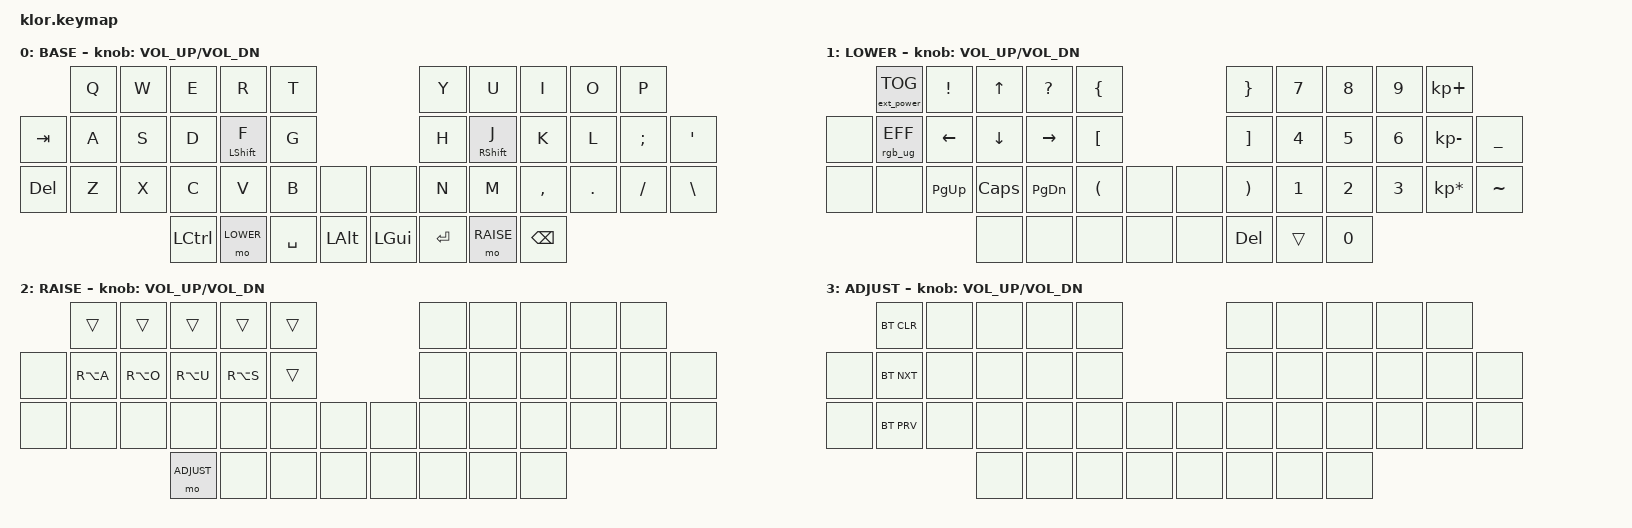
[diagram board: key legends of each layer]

//                               █         █    █            ▄▄▄▀▀▀▀▀▀▄▄▄        █▀▀▀▀▀▀▀▀▀▀█
//                               █        █     █          ▄▀            ▀▄      █          █
//                               █       █      █        ▄▀                ▀▄    █          █
//                               █      █       █        █                  █    █          █
//                               █     █        █       █                    █   █          █
//                               █    █         █       █                    █   █▄▄▄▄▄▄▄▄▄▄█
//                               █   █ █        █       █                    █   █      █
//                               █  █   █       █        █                  █    █       █
//                               █ █     █      █        ▀▄                ▄▀    █        █
//                               ██       █     █          ▀▄            ▄▀      █         █
//                               █         █    █▄▄▄▄▄▄▄▄    ▀▀▀▄▄▄▄▄▄▀▀▀        █          █
//
// ▄▄▄▄▄▄▄▄▄▄▄▄▄▄▄▄▄▄▄▄▄▄▄▄▄▄▄▄▄▄▄▄▄▄▄▄▄▄▄▄▄▄▄▄▄▄▄▄▄▄▄▄▄▄▄▄▄▄▄▄▄▄▄▄▄▄▄▄▄▄▄▄▄▄▄▄▄▄▄▄▄▄▄▄▄▄▄▄▄▄▄▄▄▄▄▄▄▄▄▄▄▄▄▄▄▄▄▄▄▄▄▄▄▄▄▄▄▄▄▄▄▄▄▄▄
       
#include <behaviors.dtsi>
#include <dt-bindings/zmk/keys.h>
#include <dt-bindings/zmk/bt.h>
#include <dt-bindings/zmk/outputs.h>
#include <dt-bindings/zmk/ext_power.h>
#include <dt-bindings/zmk/rgb.h>


#define BASE   0
#define LOWER  1
#define RAISE  2
#define ADJUST 3


/ {
    behaviors {
        hm: homerow_mods {
            compatible = "zmk,behavior-hold-tap";
            label = "HOMEROW_MODS";
            #binding-cells = <2>;
            tapping-term-ms = <150>;
            quick_tap_ms = <0>;
            flavor = "tap-preferred";
            bindings = <&kp>, <&kp>;
        };

    };

     combos {
            compatible = "zmk,combos";
            combo_esc {
                timeout-ms = <50>;
                key-positions = <0 1>;
                bindings = <&kp ESC>;
            };
    };



        keymap {
                compatible = "zmk,keymap";
// ▄▄▄▄▄▄▄▄▄▄▄▄▄▄▄▄▄▄▄▄▄▄▄▄▄▄▄▄▄▄▄▄▄▄▄▄▄▄▄▄▄▄▄▄▄▄▄▄▄▄▄▄▄▄▄▄▄▄▄▄▄▄▄▄▄▄▄▄▄▄▄▄▄▄▄▄▄▄▄▄▄▄▄▄▄▄▄▄▄▄▄▄▄▄▄▄▄▄▄▄▄▄▄▄▄▄▄▄▄▄▄▄▄▄▄▄▄▄▄▄▄▄▄▄▄▄▄▄▄▄▄▄▄▄▄▄▄▄▄▄▄▄


                base_layer {
// ┌───────────────────────────────────────────────────────────┐
label= "BASE"                                                  ;
// └───────────────────────────────────────────────────────────┘
/*           ┌─────────┬─────────┬─────────┬─────────┬─────────┐                    ┌─────────┬─────────┬─────────┬─────────┬─────────┐
             │    Q    │    W    │    E    │    R    │    T    │                    │    Y    │    U    │    I    │    O    │    P    │   
   ┌─────────┼─────────┼─────────┼─────────┼─────────┼─────────┤                    ├─────────┼─────────┼─────────┼─────────┼─────────┼─────────┐
   │   TAB   │    A    │    S    │    D    │    F    │    G    │                    │    H    │    J    │    K    │    L    │    ;    │    '    │
   ├─────────┼─────────┼─────────┼─────────┼─────────┼─────────┤╭────────╮╭────────╮├─────────┼─────────┼─────────┼─────────┼─────────┼─────────┤
   │   DEL   │    Z    │    X    │    C    │    V    │    B    ││  MUTE  ││PLY/PSE ││    N    │    M    │    ,    │    .    │    /    │    \    │
   └─────────┴─────────┴─────────┼─────────┼─────────┼─────────┼╰────────╯╰────────╯┼─────────┼─────────┼─────────┼─────────┴─────────┴─────────┘
                                 │  CTRL   │  LOWER  │  SPACE  │   ALT   ││ CMD/WIN │  ENTER  │  RAISE  │  BSPCE  │  
                                 └─────────┴─────────┴─────────┴─────────┘└─────────┴─────────┴─────────┴─────────┘ */ 
 bindings = <
 //╷         ╷         ╷         ╷         ╷         ╷         ╷         ╷╷         ╷         ╷         ╷         ╷         ╷         ╷         ╷
              &kp Q     &kp W     &kp E     &kp R     &kp T                          &kp Y     &kp U     &kp I     &kp O     &kp P
    &kp TAB   &kp A     &kp S     &kp D   &hm LSHFT F &kp G                          &kp H   &hm RSHFT J &kp K     &kp L     &kp SEMI  &kp SQT
    &kp DEL   &kp Z     &kp X     &kp C     &kp V     &kp B     &none     &none    &kp N     &kp M     &kp COMMA &kp DOT   &kp FSLH  &kp BSLH
                                  &kp LCTRL &mo LOWER &kp SPACE &kp LALT   &kp LGUI  &kp RET   &mo RAISE &kp BSPC    
                        >;
            sensor-bindings = <&inc_dec_kp C_VOL_UP C_VOL_DN>;
                };

// ▄▄▄▄▄▄▄▄▄▄▄▄▄▄▄▄▄▄▄▄▄▄▄▄▄▄▄▄▄▄▄▄▄▄▄▄▄▄▄▄▄▄▄▄▄▄▄▄▄▄▄▄▄▄▄▄▄▄▄▄▄▄▄▄▄▄▄▄▄▄▄▄▄▄▄▄▄▄▄▄▄▄▄▄▄▄▄▄▄▄▄▄▄▄▄▄▄▄▄▄▄▄▄▄▄▄▄▄▄▄▄▄▄▄▄▄▄▄▄▄▄▄▄▄▄▄▄▄▄▄▄▄▄▄▄▄▄▄▄▄▄▄


                lower_layer {
// ┌───────────────────────────────────────────────────────────┐
label= "LOWER"                                                 ;
// └───────────────────────────────────────────────────────────┘
/*           ┌─────────┬─────────┬─────────┬─────────┬─────────┐                    ┌─────────┬─────────┬─────────┬─────────┬─────────┐
             │         │     !   │    UP   │    ?    │    {    │                    │    }    │    7    │    8    │    9    │    +    │
   ┌─────────┼─────────┼─────────┼─────────┼─────────┼─────────┤                    ├─────────┼─────────┼─────────┼─────────┼─────────┼─────────┐
   │         │         │   LEFT  │  DOWN   │  RIGHT  │    [    │                    │    ]    │    4    │    5    │    6    │    -    │    _    │
   ├─────────┼─────────┼─────────┼─────────┼─────────┼─────────┤╭────────╮╭────────╮├─────────┼─────────┼─────────┼─────────┼─────────┼─────────┤
   │         │         │   P UP  │ C LOCK  │ P DOWN  │    (    ││        ││        ││    )    │    1    │    2    │    3    │    *    │     ~   │
   └─────────┴─────────┴─────────┼─────────┼─────────┼─────────┼╰────────╯╰────────╯┼─────────┼─────────┼─────────┼─────────┴─────────┴─────────┘
                                 │         │         │         │         ││         │         │    0    │         │ 
                                 └─────────┴─────────┴─────────┴─────────┘└─────────┴─────────┴─────────┴─────────┘ */ 
 bindings = <
 //╷         ╷         ╷         ╷         ╷         ╷         ╷         ╷╷         ╷         ╷         ╷         ╷         ╷         ╷         ╷
    &ext_power EP_TOG   &kp EXCL    &kp UP    &kp QMARK    &kp LBRC                       &kp RBRC &kp  N7 &kp  N8 &kp  N9 &kp KP_PLUS
    &none  &rgb_ug RGB_EFF    &kp LEFT  &kp DOWN  &kp RIGHT &kp LBKT                       &kp RBKT  &kp    N4 &kp    N5 &kp N6 &kp KP_MINUS &kp UNDER
    &none    &none    &kp PG_UP &kp CAPS  &kp PG_DN &kp LPAR  &none     &none    &kp RPAR  &kp N1    &kp    N2 &kp    N3 &kp KP_MULTIPLY &kp TILDE
                                  &none    &none    &none    &none     &none    &kp DELETE &trans &kp N0  
                        >;
            sensor-bindings = <&inc_dec_kp C_VOL_UP C_VOL_DN>;
                };

// ▄▄▄▄▄▄▄▄▄▄▄▄▄▄▄▄▄▄▄▄▄▄▄▄▄▄▄▄▄▄▄▄▄▄▄▄▄▄▄▄▄▄▄▄▄▄▄▄▄▄▄▄▄▄▄▄▄▄▄▄▄▄▄▄▄▄▄▄▄▄▄▄▄▄▄▄▄▄▄▄▄▄▄▄▄▄▄▄▄▄▄▄▄▄▄▄▄▄▄▄▄▄▄▄▄▄▄▄▄▄▄▄▄▄▄▄▄▄▄▄▄▄▄▄▄


                raise_layer {
// ┌───────────────────────────────────────────────────────────┐
label= "RAISE"                                                 ;
// └───────────────────────────────────────────────────────────┘
/*           ┌─────────┬─────────┬─────────┬─────────┬─────────┐                    ┌─────────┬─────────┬─────────┬─────────┬─────────┐
             │         │         │         │         │         │                    │         │         │    Ü    │         │         │
   ┌─────────┼─────────┼─────────┼─────────┼─────────┼─────────┤                    ├─────────┼─────────┼─────────┼─────────┼─────────┼─────────┐
   │         │         │    ß    │         │         │         │                    │         │         │         │         │    Ö    │         │
   ├─────────┼─────────┼─────────┼─────────┼─────────┼─────────┤╭────────╮╭────────╮├─────────┼─────────┼─────────┼─────────┼─────────┼─────────┤
   │         │         │         │         │         │         ││        ││        ││         │         │         │         │         │         │
   └─────────┴─────────┴─────────┼─────────┼─────────┼─────────┼╰────────╯╰────────╯┼─────────┼─────────┼─────────┼─────────┴─────────┴─────────┘
                                 │ ADJUST  │         │         │         ││         │         │         │         │  
                                 └─────────┴─────────┴─────────┴─────────┘└─────────┴─────────┴─────────┴─────────┘ */ 
 bindings = <
 //╷         ╷         ╷         ╷         ╷         ╷         ╷         ╷╷         ╷         ╷         ╷         ╷         ╷         ╷         ╷
              &trans    &trans    &trans    &trans    &trans                         &none    &none    &none    &none    &none     
    &none    &kp RA(A) &kp RA(O) &kp RA(U)  &kp RA(S) &trans                         &none    &none    &none    &none    &none    &none  
    &none    &none    &none    &none    &none    &none    &none     &none    &none    &none    &none    &none    &none    &none
                                  &mo ADJUST &none   &none    &none     &none    &none    &none    &none  
                        >;
                sensor-bindings = <&inc_dec_kp C_VOL_UP C_VOL_DN>;
                };

// ▄▄▄▄▄▄▄▄▄▄▄▄▄▄▄▄▄▄▄▄▄▄▄▄▄▄▄▄▄▄▄▄▄▄▄▄▄▄▄▄▄▄▄▄▄▄▄▄▄▄▄▄▄▄▄▄▄▄▄▄▄▄▄▄▄▄▄▄▄▄▄▄▄▄▄▄▄▄▄▄▄▄▄▄▄▄▄▄▄▄▄▄▄▄▄▄▄▄▄▄▄▄▄▄▄▄▄▄▄▄▄▄▄▄▄▄▄▄▄▄▄▄▄▄▄


                adjust_layer {
// ┌───────────────────────────────────────────────────────────┐
label= "ADJUST"                                                ;
// └───────────────────────────────────────────────────────────┘
/*           ┌─────────┬─────────┬─────────┬─────────┬─────────┐                    ┌─────────┬─────────┬─────────┬─────────┬─────────┐
             │         │         │         │         │         │                    │         │         │         │         │         │
   ┌─────────┼─────────┼─────────┼─────────┼─────────┼─────────┤                    ├─────────┼─────────┼─────────┼─────────┼─────────┼─────────┐
   │         │         │         │         │         │         │                    │         │         │         │         │         │         │
   ├─────────┼─────────┼─────────┼─────────┼─────────┼─────────┤╭────────╮╭────────╮├─────────┼─────────┼─────────┼─────────┼─────────┼─────────┤
   │         │         │         │         │         │         ││        ││        ││         │         │         │         │         │         │
   └─────────┴─────────┴─────────┼─────────┼─────────┼─────────┼╰────────╯╰────────╯┼─────────┼─────────┼─────────┼─────────┴─────────┴─────────┘
                                 │         │         │         │         ││         │         │         │         │  
                                 └─────────┴─────────┴─────────┴─────────┘└─────────┴─────────┴─────────┴─────────┘ */ 
 bindings = <
 //╷         ╷         ╷         ╷         ╷         ╷         ╷         ╷╷         ╷         ╷         ╷         ╷         ╷         ╷         ╷
             &bt BT_CLR &none     &none     &none     &none                          &none     &none     &none     &none     &none    
    &none    &bt BT_NXT &none     &none     &none     &none                          &none     &none     &none     &none     &none     &none  
    &none    &bt BT_PRV &none     &none     &none     &none     &none      &none     &none     &none     &none     &none     &none     &none     
                                  &none     &none     &none     &none      &none     &none     &none     &none     
                        >;
            sensor-bindings = <&inc_dec_kp C_VOL_UP C_VOL_DN>;
                };
        };
};
